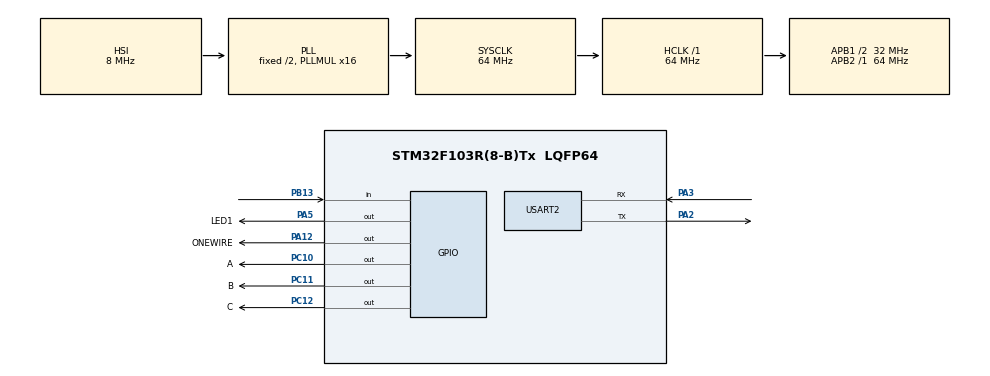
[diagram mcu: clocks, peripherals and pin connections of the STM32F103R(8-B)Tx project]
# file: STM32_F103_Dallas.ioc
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Dma.Request0=USART2_TX
Dma.USART2_TX.0.Direction=DMA_MEMORY_TO_PERIPH
Dma.USART2_TX.0.Instance=DMA1_Channel7
Dma.USART2_TX.0.MemDataAlignment=DMA_MDATAALIGN_BYTE
Dma.USART2_TX.0.MemInc=DMA_MINC_ENABLE
Dma.USART2_TX.0.Mode=DMA_NORMAL
Dma.USART2_TX.0.PeriphDataAlignment=DMA_PDATAALIGN_BYTE
Dma.USART2_TX.0.PeriphInc=DMA_PINC_DISABLE
Dma.USART2_TX.0.Priority=DMA_PRIORITY_LOW
Mcu.Family=STM32F1
Mcu.Name=STM32F103R(8-B)Tx
Mcu.Package=LQFP64
NVIC.DMA1_Channel7_IRQn=true\:0\:0\:false\:false\:true\:false
NVIC.PriorityGroup=NVIC_PRIORITYGROUP_4
NVIC.TIM1_UP_IRQn=true\:3\:0\:true\:false\:true\:true
NVIC.USART2_IRQn=true\:0\:0\:false\:false\:true\:true
PA12.GPIO_Label=ONEWIRE
PA12.GPIO_ModeDefaultOutputPP=GPIO_MODE_OUTPUT_OD
PA12.GPIO_Speed=GPIO_SPEED_FREQ_MEDIUM
PA12.PinState=GPIO_PIN_SET
PA12.Signal=GPIO_Output
PA13.Mode=Serial_Wire
PA13.Signal=SYS_JTMS-SWDIO
PA14.Mode=Serial_Wire
PA14.Signal=SYS_JTCK-SWCLK
PA2.Mode=Asynchronous
PA2.Signal=USART2_TX
PA3.Mode=Asynchronous
PA3.Signal=USART2_RX
PA5.GPIO_Label=LED1
PA5.Signal=GPIO_Output
PB13.Signal=GPIO_Input
PC10.GPIO_Label=A
PC10.GPIO_Speed=GPIO_SPEED_FREQ_HIGH
PC10.Signal=GPIO_Output
PC11.GPIO_Label=B
PC11.GPIO_Speed=GPIO_SPEED_FREQ_HIGH
PC11.Signal=GPIO_Output
PC12.GPIO_Label=C
PC12.GPIO_Speed=GPIO_SPEED_FREQ_HIGH
PC12.Signal=GPIO_Output
ProjectManager.HeapSize=0x200
ProjectManager.StackSize=0x400
ProjectManager.TargetToolchain=SW4STM32
RCC.AHBFreq_Value=64000000
RCC.APB1CLKDivider=RCC_HCLK_DIV2
RCC.APB1Freq_Value=32000000
RCC.APB1TimFreq_Value=64000000
RCC.APB2Freq_Value=64000000
RCC.APB2TimFreq_Value=64000000
RCC.HCLKFreq_Value=64000000
RCC.PLLMUL=RCC_PLL_MUL16
RCC.SYSCLKFreq_VALUE=64000000
RCC.SYSCLKSource=RCC_SYSCLKSOURCE_PLLCLK
RCC.USBFreq_Value=64000000
TIM1.AutoReloadPreload=TIM_AUTORELOAD_PRELOAD_DISABLE
TIM1.Period=0xFFFF
TIM1.Prescaler=31
USART2.VirtualMode=VM_ASYNC
VP_TIM1_VS_ClockSourceINT.Mode=Internal
board=STM32_F103_Dallas

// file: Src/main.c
/**
  ******************************************************************************
  * @file           : main.c
  * @brief          : Main program body
  ******************************************************************************
  ** This notice applies to any and all portions of this file
  * that are not between comment pairs USER CODE BEGIN and
  * USER CODE END. Other portions of this file, whether
  * inserted by the user or by software development tools
  * are owned by their respective copyright owners.
  *
  * COPYRIGHT(c) 2018 STMicroelectronics
  *
  * Redistribution and use in source and binary forms, with or without modification,
  * are permitted provided that the following conditions are met:
  *   1. Redistributions of source code must retain the above copyright notice,
  *      this list of conditions and the following disclaimer.
  *   2. Redistributions in binary form must reproduce the above copyright notice,
  *      this list of conditions and the following disclaimer in the documentation
  *      and/or other materials provided with the distribution.
  *   3. Neither the name of STMicroelectronics nor the names of its contributors
  *      may be used to endorse or promote products derived from this software
  *      without specific prior written permission.
  *
  * THIS SOFTWARE IS PROVIDED BY THE COPYRIGHT HOLDERS AND CONTRIBUTORS "AS IS"
  * AND ANY EXPRESS OR IMPLIED WARRANTIES, INCLUDING, BUT NOT LIMITED TO, THE
  * IMPLIED WARRANTIES OF MERCHANTABILITY AND FITNESS FOR A PARTICULAR PURPOSE ARE
  * DISCLAIMED. IN NO EVENT SHALL THE COPYRIGHT HOLDER OR CONTRIBUTORS BE LIABLE
  * FOR ANY DIRECT, INDIRECT, INCIDENTAL, SPECIAL, EXEMPLARY, OR CONSEQUENTIAL
  * DAMAGES (INCLUDING, BUT NOT LIMITED TO, PROCUREMENT OF SUBSTITUTE GOODS OR
  * SERVICES; LOSS OF USE, DATA, OR PROFITS; OR BUSINESS INTERRUPTION) HOWEVER
  * CAUSED AND ON ANY THEORY OF LIABILITY, WHETHER IN CONTRACT, STRICT LIABILITY,
  * OR TORT (INCLUDING NEGLIGENCE OR OTHERWISE) ARISING IN ANY WAY OUT OF THE USE
  * OF THIS SOFTWARE, EVEN IF ADVISED OF THE POSSIBILITY OF SUCH DAMAGE.
  *
  ******************************************************************************
  */
#include "main.h"
#include "stm32f1xx_hal.h"

/* USER CODE BEGIN Includes */
#include "dallas.h"
#include "flash_db.h"
#include "serial.h"
#include "onewire.h"
#include "ram_db.h"
/* USER CODE END Includes */

TIM_HandleTypeDef htim1;

UART_HandleTypeDef huart2;
DMA_HandleTypeDef hdma_usart2_tx;

/* USER CODE BEGIN PV */
/* Private variables ---------------------------------------------------------*/
/* System millisecond counter */
uint32_t OS_Msec;

/* Echo flag */
uint32_t OS_Echo;

/* Flash log flag */
uint32_t OS_FlashLog;

/* Last conversion timestamp */
uint32_t OS_LastConversionTs;

/* Conversion period index */
uint32_t OS_PeriodIdx;

/* Conversion period look-up table in sek*/
static const uint32_t OS_PeriodLUT [  ] =
{
	1, 2, 5, 10, 15, 20, 30,
	45, 60, 90, 120, 180, 240,
	300, 450, 600, 900, 1200,
	1800, 2700, 3600, 5400,
	7200
};
/* USER CODE END PV */

void SystemClock_Config(void);
static void MX_GPIO_Init(void);
static void MX_DMA_Init(void);
static void MX_USART2_UART_Init(void);
static void MX_TIM1_Init(void);

/* USER CODE BEGIN PFP */
/* Private function prototypes -----------------------------------------------*/
static void PrintSamplingTime ( uint32_t sampling_time );
static uint8_t PrintTimeElement ( uint32_t value, const char* str );
static void UserInput ( char chr );
static uint8_t PrintTempColumns ( uint16_t T, uint8_t col );
/* USER CODE END PFP */

int main(void)
{

  /* MCU Configuration----------------------------------------------------------*/

  /* Reset of all peripherals, Initializes the Flash interface and the Systick. */
  HAL_Init();

  /* Configure the system clock */
  SystemClock_Config();

  /* Initialize all configured peripherals */
  MX_GPIO_Init();
  MX_DMA_Init();
  MX_USART2_UART_Init();
  MX_TIM1_Init();
  /* USER CODE BEGIN 2 */

	FDB_Init (  );
	RDB_Init (  );
	S_Init (  );
	DS_Init (  );

	OS_LastConversionTs = OS_Msec;
	printf ( "=======================\r\n");
	printf ( "========TERMOMETR======\r\n");
	printf ( "=======================\r\n");
	printf ( "Komendy: \r\n [-] Zmniejsz czas probkowania \r\n [+] Zwieksz czas probkowania \r\n" );
	printf ( " [e] Pokaz aktualna temperature \r\n [l] Zapis do pamieci FLASH \r\n" );
	printf ( " [f] Pokaz dane z pamieci FLASH \r\n [r] Pokaz dane z pamieci RAM\r\n" );
	printf ( " [c] Wyczysc pamiec FLASH \r\n" );
	printf ( " [?] Pokaz informacje \r\n" );
  /* USER CODE END 2 */

  /* Infinite loop */
	while (1)
	{

  /* USER CODE BEGIN 3 */

		if ( S_IsNewData (  ) )
		{
			UserInput ( S_GetCommand (  ) );
		}

		if ( GetTimeDiff ( OS_LastConversionTs ) >= OS_PeriodLUT [ OS_PeriodIdx ] * TICKS_PER_SEC )
		{
			uint16_t T = DS_LaunchConversion (  );
			OS_LastConversionTs = OS_Msec;

			RDB_RegisterVal ( T );

			if ( OS_FlashLog )
			{
				FDB_RegisterVal ( T );
			}

			if ( OS_Echo )
			{
				DS_PrintTemp ( T );
				printf ( "\r\n" );
			}
		}

		DS_DoWork (  );
	}
  /* USER CODE END 3 */

}

void SystemClock_Config(void)
{

  RCC_OscInitTypeDef RCC_OscInitStruct;
  RCC_ClkInitTypeDef RCC_ClkInitStruct;

    /**Initializes the CPU, AHB and APB busses clocks
    */
  RCC_OscInitStruct.OscillatorType = RCC_OSCILLATORTYPE_HSI;
  RCC_OscInitStruct.HSIState = RCC_HSI_ON;
  RCC_OscInitStruct.HSICalibrationValue = 16;
  RCC_OscInitStruct.PLL.PLLState = RCC_PLL_ON;
  RCC_OscInitStruct.PLL.PLLSource = RCC_PLLSOURCE_HSI_DIV2;
  RCC_OscInitStruct.PLL.PLLMUL = RCC_PLL_MUL16;
  if (HAL_RCC_OscConfig(&RCC_OscInitStruct) != HAL_OK)
  {
    _Error_Handler(__FILE__, __LINE__);
  }

    /**Initializes the CPU, AHB and APB busses clocks
    */
  RCC_ClkInitStruct.ClockType = RCC_CLOCKTYPE_HCLK|RCC_CLOCKTYPE_SYSCLK
                              |RCC_CLOCKTYPE_PCLK1|RCC_CLOCKTYPE_PCLK2;
  RCC_ClkInitStruct.SYSCLKSource = RCC_SYSCLKSOURCE_PLLCLK;
  RCC_ClkInitStruct.AHBCLKDivider = RCC_SYSCLK_DIV1;
  RCC_ClkInitStruct.APB1CLKDivider = RCC_HCLK_DIV2;
  RCC_ClkInitStruct.APB2CLKDivider = RCC_HCLK_DIV1;

  if (HAL_RCC_ClockConfig(&RCC_ClkInitStruct, FLASH_LATENCY_2) != HAL_OK)
  {
    _Error_Handler(__FILE__, __LINE__);
  }

    /**Configure the Systick interrupt time
    */
  HAL_SYSTICK_Config(HAL_RCC_GetHCLKFreq()/1000);

    /**Configure the Systick
    */
  HAL_SYSTICK_CLKSourceConfig(SYSTICK_CLKSOURCE_HCLK);

  /* SysTick_IRQn interrupt configuration */
  HAL_NVIC_SetPriority(SysTick_IRQn, 0, 0);
}

/* TIM1 init function */
static void MX_TIM1_Init(void)
{

  TIM_ClockConfigTypeDef sClockSourceConfig;
  TIM_MasterConfigTypeDef sMasterConfig;

  htim1.Instance = TIM1;
  htim1.Init.Prescaler = 31;
  htim1.Init.CounterMode = TIM_COUNTERMODE_UP;
  htim1.Init.Period = 0xFFFF;
  htim1.Init.ClockDivision = TIM_CLOCKDIVISION_DIV1;
  htim1.Init.RepetitionCounter = 0;
  htim1.Init.AutoReloadPreload = TIM_AUTORELOAD_PRELOAD_DISABLE;
  if (HAL_TIM_Base_Init(&htim1) != HAL_OK)
  {
    _Error_Handler(__FILE__, __LINE__);
  }

  sClockSourceConfig.ClockSource = TIM_CLOCKSOURCE_INTERNAL;
  if (HAL_TIM_ConfigClockSource(&htim1, &sClockSourceConfig) != HAL_OK)
  {
    _Error_Handler(__FILE__, __LINE__);
  }

  sMasterConfig.MasterOutputTrigger = TIM_TRGO_RESET;
  sMasterConfig.MasterSlaveMode = TIM_MASTERSLAVEMODE_DISABLE;
  if (HAL_TIMEx_MasterConfigSynchronization(&htim1, &sMasterConfig) != HAL_OK)
  {
    _Error_Handler(__FILE__, __LINE__);
  }

}

/* USART2 init function */
static void MX_USART2_UART_Init(void)
{

  huart2.Instance = USART2;
  huart2.Init.BaudRate = 115200;
  huart2.Init.WordLength = UART_WORDLENGTH_8B;
  huart2.Init.StopBits = UART_STOPBITS_1;
  huart2.Init.Parity = UART_PARITY_NONE;
  huart2.Init.Mode = UART_MODE_TX_RX;
  huart2.Init.HwFlowCtl = UART_HWCONTROL_NONE;
  huart2.Init.OverSampling = UART_OVERSAMPLING_16;
  if (HAL_UART_Init(&huart2) != HAL_OK)
  {
    _Error_Handler(__FILE__, __LINE__);
  }

}

static void MX_DMA_Init(void)
{
  /* DMA controller clock enable */
  __HAL_RCC_DMA1_CLK_ENABLE();

  /* DMA interrupt init */
  /* DMA1_Channel7_IRQn interrupt configuration */
  HAL_NVIC_SetPriority(DMA1_Channel7_IRQn, 0, 0);
  HAL_NVIC_EnableIRQ(DMA1_Channel7_IRQn);

}

/** Configure pins as
        * Analog
        * Input
        * Output
        * EVENT_OUT
        * EXTI
        * Free pins are configured automatically as Analog (this feature is enabled through
        * the Code Generation settings)
*/
static void MX_GPIO_Init(void)
{

  GPIO_InitTypeDef GPIO_InitStruct;

  /* GPIO Ports Clock Enable */
  __HAL_RCC_GPIOC_CLK_ENABLE();
  __HAL_RCC_GPIOD_CLK_ENABLE();
  __HAL_RCC_GPIOA_CLK_ENABLE();
  __HAL_RCC_GPIOB_CLK_ENABLE();

  /*Configure GPIO pin Output Level */
  HAL_GPIO_WritePin(LED1_GPIO_Port, LED1_Pin, GPIO_PIN_RESET);

  /*Configure GPIO pin Output Level */
  HAL_GPIO_WritePin(ONEWIRE_GPIO_Port, ONEWIRE_Pin, GPIO_PIN_SET);

  /*Configure GPIO pin Output Level */
  HAL_GPIO_WritePin(GPIOC, A_Pin|B_Pin|C_Pin, GPIO_PIN_RESET);

  /*Configure GPIO pins : PC13 PC14 PC15 PC0
                           PC1 PC2 PC3 PC4
                           PC5 PC6 PC7 PC8
                           PC9 */
  GPIO_InitStruct.Pin = GPIO_PIN_13|GPIO_PIN_14|GPIO_PIN_15|GPIO_PIN_0
                          |GPIO_PIN_1|GPIO_PIN_2|GPIO_PIN_3|GPIO_PIN_4
                          |GPIO_PIN_5|GPIO_PIN_6|GPIO_PIN_7|GPIO_PIN_8
                          |GPIO_PIN_9;
  GPIO_InitStruct.Mode = GPIO_MODE_ANALOG;
  HAL_GPIO_Init(GPIOC, &GPIO_InitStruct);

  /*Configure GPIO pins : PD0 PD1 PD2 */
  GPIO_InitStruct.Pin = GPIO_PIN_0|GPIO_PIN_1|GPIO_PIN_2;
  GPIO_InitStruct.Mode = GPIO_MODE_ANALOG;
  HAL_GPIO_Init(GPIOD, &GPIO_InitStruct);

  /*Configure GPIO pins : PA0 PA1 PA4 PA6
                           PA7 PA8 PA9 PA10
                           PA11 PA15 */
  GPIO_InitStruct.Pin = GPIO_PIN_0|GPIO_PIN_1|GPIO_PIN_4|GPIO_PIN_6
                          |GPIO_PIN_7|GPIO_PIN_8|GPIO_PIN_9|GPIO_PIN_10
                          |GPIO_PIN_11|GPIO_PIN_15;
  GPIO_InitStruct.Mode = GPIO_MODE_ANALOG;
  HAL_GPIO_Init(GPIOA, &GPIO_InitStruct);

  /*Configure GPIO pin : LED1_Pin */
  GPIO_InitStruct.Pin = LED1_Pin;
  GPIO_InitStruct.Mode = GPIO_MODE_OUTPUT_PP;
  GPIO_InitStruct.Speed = GPIO_SPEED_FREQ_LOW;
  HAL_GPIO_Init(LED1_GPIO_Port, &GPIO_InitStruct);

  /*Configure GPIO pins : PB0 PB1 PB2 PB10
                           PB11 PB12 PB14 PB15
                           PB3 PB4 PB5 PB6
                           PB7 PB8 PB9 */
  GPIO_InitStruct.Pin = GPIO_PIN_0|GPIO_PIN_1|GPIO_PIN_2|GPIO_PIN_10
                          |GPIO_PIN_11|GPIO_PIN_12|GPIO_PIN_14|GPIO_PIN_15
                          |GPIO_PIN_3|GPIO_PIN_4|GPIO_PIN_5|GPIO_PIN_6
                          |GPIO_PIN_7|GPIO_PIN_8|GPIO_PIN_9;
  GPIO_InitStruct.Mode = GPIO_MODE_ANALOG;
  HAL_GPIO_Init(GPIOB, &GPIO_InitStruct);

  /*Configure GPIO pin : PB13 */
  GPIO_InitStruct.Pin = GPIO_PIN_13;
  GPIO_InitStruct.Mode = GPIO_MODE_INPUT;
  GPIO_InitStruct.Pull = GPIO_NOPULL;
  HAL_GPIO_Init(GPIOB, &GPIO_InitStruct);

  /*Configure GPIO pin : ONEWIRE_Pin */
  GPIO_InitStruct.Pin = ONEWIRE_Pin;
  GPIO_InitStruct.Mode = GPIO_MODE_OUTPUT_OD;
  GPIO_InitStruct.Speed = GPIO_SPEED_FREQ_MEDIUM;
  HAL_GPIO_Init(ONEWIRE_GPIO_Port, &GPIO_InitStruct);

  /*Configure GPIO pins : A_Pin B_Pin C_Pin */
  GPIO_InitStruct.Pin = A_Pin|B_Pin|C_Pin;
  GPIO_InitStruct.Mode = GPIO_MODE_OUTPUT_PP;
  GPIO_InitStruct.Speed = GPIO_SPEED_FREQ_HIGH;
  HAL_GPIO_Init(GPIOC, &GPIO_InitStruct);

  /*Configure peripheral I/O remapping */
  __HAL_AFIO_REMAP_PD01_ENABLE();

}

/* USER CODE BEGIN 4 */

static uint8_t PrintTimeElement ( uint32_t value, const char* str )
{
	if ( value > 0 )
	{
		printf ( "%u %s", ( unsigned int ) value, str );
		if ( value != 1 )
		{
			printf ( "s" );
		}
		return 1;
	}
	return 0;
}

static void PrintSamplingTime ( uint32_t sampling_time )
{
	static const uint32_t timeRadix = 60;
	uint32_t hours;
	uint32_t minutes;
	uint32_t seconds;

	hours = sampling_time / ( timeRadix * timeRadix );
	sampling_time -= hours * timeRadix * timeRadix;

	minutes = sampling_time / timeRadix;
	sampling_time -= minutes * timeRadix;

	seconds = sampling_time;

	if ( PrintTimeElement ( hours, "hour" ) && ( 0 != minutes || 0 != seconds ) )
	{
		printf ( " " );
	}

	if ( PrintTimeElement ( minutes, "min" ) && 0 != seconds )
	{
		printf ( " " );
	}

	PrintTimeElement ( seconds, "sek" );
}

static uint8_t PrintTempColumns ( uint16_t T, uint8_t col )
{
	uint8_t l = DS_PrintTemp ( T );

						/* Align */
						if ( l / 4 < 2 )
						{
							printf ( "\t\t" );
						}
						else
						{
							printf ( "\t" );
						}

						col++;
						if ( col == 4 )
						{
							col = 0;
							printf ( "\r\n" );
						}
						return ( col );
}

static void UserInput ( char chr )
{
	static const uint8_t periodLUTSize = sizeof ( OS_PeriodLUT ) / sizeof ( OS_PeriodLUT [ 0 ] );
	switch ( chr )
	{
		case '+':
		{
			if ( periodLUTSize - 1 <= OS_PeriodIdx )
			{
				OS_PeriodIdx = 0;
			}
			else
			{
				OS_PeriodIdx++;
			}
			printf ( "Interwal pomiarowy " );
			PrintSamplingTime ( OS_PeriodLUT [ OS_PeriodIdx ] );
			printf ( "\r\n" );

		}
		break;

		case '-':
		{
			if ( 0 == OS_PeriodIdx )
			{
				OS_PeriodIdx = periodLUTSize - 1;
			}
			else
			{
				OS_PeriodIdx--;
			}
			printf ( "Interwal pomiarowy " );
			PrintSamplingTime ( OS_PeriodLUT [ OS_PeriodIdx ] );
			printf ( "\r\n" );
		}
		break;

		case 'e':
		case 'E':
		{
			printf ("Sprawdzanie temperatury " );
			/* Toggle Echo */
			if ( OS_Echo )
			{
				OS_Echo = 0;
				printf ( "wylaczone" );
			}
			else
			{
				OS_Echo = 1;
				printf ( "wlaczone" );
			}
			printf ( "\r\n" );
		}
		break;

		case 'l':
		case 'L':
		{
			printf ("Zapisywanie do pamieci FLASH " );
			/* Toggle Flash Log */
			if ( OS_FlashLog )
			{
				OS_FlashLog = 0;
				printf ( "wylaczone" );
			}
			else
			{
				OS_FlashLog = 1;
				printf ( "wlaczone" );
			}
			printf ( "\r\n" );
		}
		break;

		case 'f':
		case 'F':
		{
			uint32_t col_cnt = 0;
			uint16_t T;
			printf ( "=======================\r\n");
			printf ( "=====Pamiec FLASH =====\r\n");
			printf ( "=======================\r\n");

			FDB_ResetReadTail (  );
			do
			{
				T = FDB_ReadData (  );
				if ( T != 0xFFFF )
				{
					col_cnt = PrintTempColumns ( T, col_cnt );
				}
			}	while ( T != 0xFFFF );
			printf ( "\r\n" );
		}
		break;

		case 'r':
		case 'R':
		{
			uint32_t col_cnt = 0;
						uint16_t T;
						printf ( "=======================\r\n");
						printf ( "======Pamiec RAM ======\r\n");
						printf ( "=======================\r\n");

						RDB_ResetReadTail (  );
						do
						{
							T = RDB_ReadData (  );
							if ( T != 0xFFFF )
							{
								col_cnt = PrintTempColumns ( T, col_cnt );
							}
						}	while ( T != 0xFFFF );
						printf ( "\r\n" );
		}
		break;

		case '?':
		{
			printf ( "=======================\r\n");
			printf ( "==========INFO=========\r\n" );
			printf ( "=======================\r\n");
			printf ( "Interwal pomiarowy " );
			PrintSamplingTime ( OS_PeriodLUT [ OS_PeriodIdx ] );
			printf ( "\r\n" );
			DS_PrintROM (  );
			printf ( "%u danych w pamieci FLASH \r\n", FDB_GetCountOfSamples (  ) );
			printf ( "%u danych w pamieci RAM \r\n", RDB_GetCountOfSamples (  ) );
		}
		break;

		case 'c':
		case 'C':
		{
			FDB_ClearMemory (  );
			printf ( "Wyczyszczono pamiec FLASH \r\n" );
		}
		break;

	}

}

uint32_t GetTimeDiff ( uint32_t timestamp )
{
	uint32_t diff;
	uint32_t now = OS_Msec;

	if ( now >= timestamp )
	{
		diff = now - timestamp;
	}
	else
	{
		diff = ( 0xFFFFFFFF - timestamp ) + now + 1;
	}

	return ( diff );
}

void HAL_SYSTICK_Callback ( void )
{
	OS_Msec++;
}

void HAL_TIM_PeriodElapsedCallback(TIM_HandleTypeDef *htim)
{
	if ( htim == &htim1 )
	{
		OW_Callback_TimerEnd (  );
	}
}
/* USER CODE END 4 */

void _Error_Handler(char *file, int line)
{
	while(1)
	{
	}
}

/************************ (C) COPYRIGHT STMicroelectronics *****END OF FILE****/
